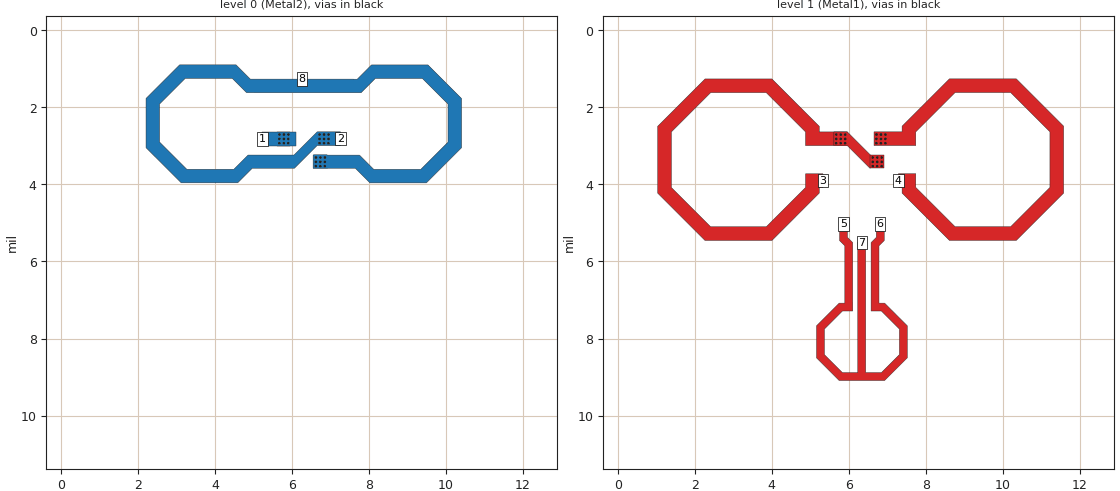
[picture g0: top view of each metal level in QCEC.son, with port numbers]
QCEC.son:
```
FTYP SONPROJ 19 ! Sonnet Project File
VER 18.58
HEADER
LIC No License
DAT 07/05/2026 14:27:51
BUILT_BY_CREATED xgeom 18.58 05/27/2026 15:17:57
BUILT_BY_SAVED sonnet 18.58
MDATE 07/05/2026 14:27:51
HDATE 07/05/2026 14:27:51
END HEADER
DIM
ANG DEG
CAP PF
CON /OH
FREQ GHZ
IND NH
LNG MIL
RES OH
END DIM
CONTROL
VARSWP
OPTIONS  -bd
SPEED 0
SUBSPLAM Y 20
EDGECHECK Y 1
CFMAX Y 60.0
CACHE_ABS 2
Q_ACC Y
DET_ABS_RES Y
END CONTROL
GEO
TMET "Lossless" 0 SUP 0 0 0 0
BMET "Lossless" 0 SUP 0 0 0 0
MET "Copper" 1 NOR 58000000 0.5 0.05 
MET "Aluminum" 2 NOR 37200000 0.5 0.035 
MET "Copper" 1 VOL 58000000 SOLID 0
BOX 2 12.5 11 1000 880 20 0
      0.2 1 1 0 0 0 0 "Air"
      0.4 3.9 1 0.002 0 0 0 "Silicon Dioxide"
      12 11.9 1 0.05 0 0.00044 0 "Silicon (intrinsic)"
TECHLAY METAL Metal2 Copper -3 -65534 
0 0 0 N 759 1 1 100 100 0 0 0 Y
END
END
TECHLAY METAL Metal1 Copper -2 -65534 
1 0 1 N 769 1 1 100 100 0 0 0 Y
END
END
TECHLAY VIA Via1 <UNSPECIFIED> -4 -65534 
VIA POLYGON
1 0 2 N 783 1 1 100 100 0 0 0 Y
TOLEVEL GND SOLID COVERS
END
END
LORGN 0 11 U 
POR1 CUP A
GNDREF AUTO
TERMW CUST 1
POLY 216 1
6
8 50 0 0 0 6.2576 1.2676 
POR1 CUP Auto
SIMPLE Y
GNDREF BOX AUTO
TERMW FEED
POLY 216 1
28
2 50 0 0 0 7.2588 2.8136 NONE 
CUPGRP "Auto" LOCAL
ID 762
END
POR1 CUP Auto
SIMPLE Y
GNDREF BOX AUTO
TERMW FEED
POLY 702 1
3
1 50 0 0 0 5.2308 2.8188 NONE 
CUPGRP "Auto" LOCAL
ID 765
END
POR1 CUP Auto
SIMPLE Y
GNDREF BOX AUTO
TERMW FEED
POLY 62 1
6
3 50 0 0 0 5.3268 3.9026 NONE 
CUPGRP "Auto" LOCAL
ID 771
END
POR1 CUP Auto
SIMPLE Y
GNDREF BOX AUTO
TERMW FEED
POLY 64 1
6
4 50 0 0 0 7.286 3.901 NONE 
CUPGRP "Auto" LOCAL
ID 774
END
POR1 CUP Auto
GNDREF FLOAT
TERMW FEED
POLY 789 1
42
5 50 0 0 0 5.86173096 5.02436728 
CUPGRP "Auto" LOCAL
ID 795
END
POR1 CUP Auto
GNDREF FLOAT
TERMW FEED
POLY 789 1
14
6 50 0 0 0 6.81516168 5.02436728 
CUPGRP "Auto" LOCAL
ID 797
END
POR1 CUP Auto
GNDREF AUTO
TERMW FEED
POLY 789 1
29
7 50 0 0 0 6.33414328 5.509074 
CUPGRP "Auto" LOCAL
ID 799
END
CUPGRP "A"
ID 383
END
CUPGRP "B"
ID 744
END
CUPGRP "C"
ID 790
END
NUM 36
0 5 0 N 214 1 1 100 100 0 0 0 Y
TLAYNAM Metal2 INH
5.6116 2.6376
5.9596 2.6376
5.9596 2.9928
5.6116 2.9928
5.6116 2.6376
END
0 66 0 N 216 1 1 100 100 0 0 0 Y
TLAYNAM Metal2 INH
10.4008 3.0488
10.4008 1.7708
9.5292 0.8992
8.0636 0.8992
7.6936 1.2692
7.596 1.2692
7.596 1.2676
4.9192 1.2676
4.5492 0.8976
4.5492 0.8976
4.5492 0.8976
4.5492 0.8976
4.5492 0.8976
3.0836 0.8976
3.0836 0.8976
2.212 1.7688
2.212 1.7688
2.212 1.7688
2.212 3.0472
2.212 3.0472
2.212 3.0472
3.1244 3.9592
3.1244 3.9592
4.59 3.9592
4.59 3.9592
4.9696 3.58
6.0644 3.58
6.6532 2.9912
7.2588 2.9912
7.2588 2.636
6.6532 2.636
6.6532 2.636
6.0508 3.2384
4.8604 3.2384
4.4908 3.608
3.27 3.608
2.5632 2.9016
2.5632 1.9144
3.2288 1.2488
4.4496 1.2488
4.8196 1.6188
4.8196 1.6188
5.0168 1.6188
5.0168 1.6204
7.7932 1.6204
8.1632 1.2504
9.384 1.2504
10.0496 1.916
10.0496 2.9032
9.3428 3.6096
8.122 3.6096
7.7524 3.24
6.912 3.24
6.912 3.2316
6.5564 3.2316
6.5564 3.24
6.5484 3.24
6.5484 3.5816
6.5564 3.5816
6.5564 3.5868
6.912 3.5868
6.912 3.5816
7.6432 3.5816
8.0228 3.9608
9.4884 3.9608
10.4008 3.0488
END
0 5 0 N 702 1 1 100 100 0 0 0 Y
TLAYNAM Metal2 INH
5.2308 2.6376
6.0932 2.6376
6.0932 3
5.2308 3
5.2308 2.6376
END
VIA POLYGON
0 37 -1 N 127 1 1 100 100 0 0 0 Y
TOLEVEL 1 RING COVERS
5.708 2.7092
5.7068 2.7152
5.7048 2.7208
5.7016 2.7264
5.6976 2.7308
5.6932 2.7348
5.688 2.738
5.682 2.74
5.676 2.7408
5.67 2.7408
5.664 2.74
5.6584 2.738
5.6532 2.7348
5.6484 2.7308
5.6444 2.7264
5.6412 2.7208
5.6392 2.7152
5.6384 2.7092
5.6384 2.7032
5.6392 2.6972
5.6412 2.6916
5.6444 2.686
5.6484 2.6816
5.6532 2.6776
5.6584 2.6744
5.664 2.6724
5.67 2.6712
5.676 2.6712
5.682 2.6724
5.688 2.6744
5.6932 2.6776
5.6976 2.6816
5.7016 2.686
5.7048 2.6916
5.7068 2.6972
5.708 2.7032
5.708 2.7092
END
VIA POLYGON
0 37 -1 N 128 1 1 100 100 0 0 0 Y
TOLEVEL 1 RING COVERS
5.8248 2.7104
5.8236 2.7164
5.8216 2.722
5.8184 2.7272
5.8144 2.732
5.81 2.736
5.8048 2.7388
5.7988 2.7412
5.7928 2.742
5.7868 2.742
5.7808 2.7412
5.7752 2.7388
5.77 2.736
5.7652 2.732
5.7612 2.7272
5.7584 2.722
5.756 2.7164
5.7552 2.7104
5.7552 2.7044
5.756 2.6984
5.7584 2.6924
5.7612 2.6872
5.7652 2.6824
5.77 2.6788
5.7752 2.6756
5.7808 2.6736
5.7868 2.6724
5.7928 2.6724
5.7988 2.6736
5.8048 2.6756
5.81 2.6788
5.8144 2.6824
5.8184 2.6872
5.8216 2.6924
5.8236 2.6984
5.8248 2.7044
5.8248 2.7104
END
VIA POLYGON
0 37 -1 N 129 1 1 100 100 0 0 0 Y
TOLEVEL 1 RING COVERS
5.9404 2.7096
5.9392 2.7156
5.9372 2.7216
5.934 2.7268
5.93 2.7316
5.9256 2.7352
5.9204 2.7384
5.9144 2.7404
5.9084 2.7416
5.9024 2.7416
5.8964 2.7404
5.8908 2.7384
5.8856 2.7352
5.8808 2.7316
5.8768 2.7268
5.8736 2.7216
5.8716 2.7156
5.8708 2.7096
5.8708 2.7036
5.8716 2.6976
5.8736 2.692
5.8768 2.6868
5.8808 2.682
5.8856 2.678
5.8908 2.6752
5.8964 2.6728
5.9024 2.672
5.9084 2.672
5.9144 2.6728
5.9204 2.6752
5.9256 2.678
5.93 2.682
5.934 2.6868
5.9372 2.692
5.9392 2.6976
5.9404 2.7036
5.9404 2.7096
END
VIA POLYGON
0 37 -1 N 130 1 1 100 100 0 0 0 Y
TOLEVEL 1 RING COVERS
5.7068 2.822
5.7056 2.828
5.7036 2.834
5.7004 2.8392
5.6968 2.844
5.692 2.8476
5.6868 2.8508
5.6812 2.8528
5.6752 2.854
5.6688 2.854
5.6628 2.8528
5.6572 2.8508
5.652 2.8476
5.6472 2.844
5.6432 2.8392
5.6404 2.834
5.6384 2.828
5.6372 2.822
5.6372 2.816
5.6384 2.81
5.6404 2.8044
5.6432 2.7992
5.6472 2.7944
5.652 2.7904
5.6572 2.7876
5.6628 2.7852
5.6688 2.7844
5.6752 2.7844
5.6812 2.7852
5.6868 2.7876
5.692 2.7904
5.6968 2.7944
5.7004 2.7992
5.7036 2.8044
5.7056 2.81
5.7068 2.816
5.7068 2.822
END
VIA POLYGON
0 37 -1 N 131 1 1 100 100 0 0 0 Y
TOLEVEL 1 RING COVERS
5.8236 2.8232
5.8224 2.8292
5.8204 2.8348
5.8176 2.8404
5.8136 2.8448
5.8088 2.8488
5.8036 2.852
5.798 2.854
5.792 2.8552
5.7856 2.8552
5.7796 2.854
5.774 2.852
5.7688 2.8488
5.764 2.8448
5.76 2.8404
5.7572 2.8348
5.7552 2.8292
5.754 2.8232
5.754 2.8172
5.7552 2.8112
5.7572 2.8056
5.76 2.8
5.764 2.7956
5.7688 2.7916
5.774 2.7884
5.7796 2.7864
5.7856 2.7856
5.792 2.7856
5.798 2.7864
5.8036 2.7884
5.8088 2.7916
5.8136 2.7956
5.8176 2.8
5.8204 2.8056
5.8224 2.8112
5.8236 2.8172
5.8236 2.8232
END
VIA POLYGON
0 37 -1 N 132 1 1 100 100 0 0 0 Y
TOLEVEL 1 RING COVERS
5.9392 2.8228
5.938 2.8288
5.936 2.8344
5.9328 2.8396
5.9292 2.8444
5.9244 2.8484
5.9192 2.8512
5.9136 2.8532
5.9076 2.8544
5.9012 2.8544
5.8952 2.8532
5.8896 2.8512
5.8844 2.8484
5.8796 2.8444
5.8756 2.8396
5.8728 2.8344
5.8708 2.8288
5.8696 2.8228
5.8696 2.8164
5.8708 2.8104
5.8728 2.8048
5.8756 2.7996
5.8796 2.7948
5.8844 2.7912
5.8896 2.788
5.8952 2.786
5.9012 2.7848
5.9076 2.7848
5.9136 2.786
5.9192 2.788
5.9244 2.7912
5.9292 2.7948
5.9328 2.7996
5.936 2.8048
5.938 2.8104
5.9392 2.8164
5.9392 2.8228
END
VIA POLYGON
0 37 -1 N 133 1 1 100 100 0 0 0 Y
TOLEVEL 1 RING COVERS
5.7056 2.9344
5.7044 2.9404
5.7024 2.946
5.6992 2.9512
5.6956 2.956
5.6908 2.9596
5.6856 2.9628
5.6796 2.9648
5.6736 2.966
5.6676 2.966
5.6616 2.9648
5.656 2.9628
5.6508 2.9596
5.646 2.956
5.642 2.9512
5.6392 2.946
5.6372 2.9404
5.636 2.9344
5.636 2.928
5.6372 2.922
5.6392 2.9164
5.642 2.9112
5.646 2.9064
5.6508 2.9024
5.656 2.8996
5.6616 2.8976
5.6676 2.8964
5.6736 2.8964
5.6796 2.8976
5.6856 2.8996
5.6908 2.9024
5.6956 2.9064
5.6992 2.9112
5.7024 2.9164
5.7044 2.922
5.7056 2.928
5.7056 2.9344
END
VIA POLYGON
0 37 -1 N 134 1 1 100 100 0 0 0 Y
TOLEVEL 1 RING COVERS
5.8224 2.9352
5.8212 2.9412
5.8192 2.9472
5.816 2.9524
5.8124 2.9568
5.8076 2.9608
5.8024 2.964
5.7968 2.966
5.7908 2.9672
5.7844 2.9672
5.7784 2.966
5.7728 2.964
5.7676 2.9608
5.7628 2.9568
5.7588 2.9524
5.756 2.9472
5.754 2.9412
5.7528 2.9352
5.7528 2.9292
5.754 2.9232
5.756 2.9176
5.7588 2.9124
5.7628 2.9076
5.7676 2.9036
5.7728 2.9008
5.7784 2.8984
5.7844 2.8976
5.7908 2.8976
5.7968 2.8984
5.8024 2.9008
5.8076 2.9036
5.8124 2.9076
5.816 2.9124
5.8192 2.9176
5.8212 2.9232
5.8224 2.9292
5.8224 2.9352
END
VIA POLYGON
0 37 -1 N 135 1 1 100 100 0 0 0 Y
TOLEVEL 1 RING COVERS
5.938 2.9348
5.9368 2.9408
5.9348 2.9464
5.9316 2.9516
5.928 2.9564
5.9232 2.9604
5.918 2.9632
5.912 2.9656
5.906 2.9664
5.9 2.9664
5.894 2.9656
5.8884 2.9632
5.8832 2.9604
5.8784 2.9564
5.8744 2.9516
5.8716 2.9464
5.8696 2.9408
5.8684 2.9348
5.8684 2.9288
5.8696 2.9228
5.8716 2.9168
5.8744 2.9116
5.8784 2.9068
5.8832 2.9032
5.8884 2.9
5.894 2.898
5.9 2.8968
5.906 2.8968
5.912 2.898
5.918 2.9
5.9232 2.9032
5.928 2.9068
5.9316 2.9116
5.9348 2.9168
5.9368 2.9228
5.938 2.9288
5.938 2.9348
END
VIA POLYGON
0 37 -1 N 156 1 1 100 100 0 0 0 Y
TOLEVEL 1 RING COVERS
6.9844 2.7096
6.9832 2.7156
6.9812 2.7216
6.978 2.7268
6.974 2.7316
6.9696 2.7352
6.9644 2.7384
6.9584 2.7404
6.9524 2.7416
6.9464 2.7416
6.9404 2.7404
6.9348 2.7384
6.9296 2.7352
6.9248 2.7316
6.9208 2.7268
6.9176 2.7216
6.9156 2.7156
6.9148 2.7096
6.9148 2.7036
6.9156 2.6976
6.9176 2.692
6.9208 2.6868
6.9248 2.682
6.9296 2.678
6.9348 2.6752
6.9404 2.6728
6.9464 2.672
6.9524 2.672
6.9584 2.6728
6.9644 2.6752
6.9696 2.678
6.974 2.682
6.978 2.6868
6.9812 2.692
6.9832 2.6976
6.9844 2.7036
6.9844 2.7096
END
VIA POLYGON
0 37 -1 N 157 1 1 100 100 0 0 0 Y
TOLEVEL 1 RING COVERS
6.8688 2.7104
6.8676 2.7164
6.8656 2.722
6.8624 2.7272
6.8584 2.732
6.854 2.736
6.8488 2.7388
6.8428 2.7412
6.8368 2.742
6.8308 2.742
6.8248 2.7412
6.8192 2.7388
6.814 2.736
6.8092 2.732
6.8052 2.7272
6.8024 2.722
6.8 2.7164
6.7992 2.7104
6.7992 2.7044
6.8 2.6984
6.8024 2.6924
6.8052 2.6872
6.8092 2.6824
6.814 2.6788
6.8192 2.6756
6.8248 2.6736
6.8308 2.6724
6.8368 2.6724
6.8428 2.6736
6.8488 2.6756
6.854 2.6788
6.8584 2.6824
6.8624 2.6872
6.8656 2.6924
6.8676 2.6984
6.8688 2.7044
6.8688 2.7104
END
VIA POLYGON
0 37 -1 N 158 1 1 100 100 0 0 0 Y
TOLEVEL 1 RING COVERS
6.982 2.9348
6.9808 2.9408
6.9788 2.9464
6.9756 2.9516
6.972 2.9564
6.9672 2.9604
6.962 2.9632
6.956 2.9656
6.95 2.9664
6.944 2.9664
6.938 2.9656
6.9324 2.9632
6.9272 2.9604
6.9224 2.9564
6.9184 2.9516
6.9156 2.9464
6.9136 2.9408
6.9124 2.9348
6.9124 2.9288
6.9136 2.9228
6.9156 2.9168
6.9184 2.9116
6.9224 2.9068
6.9272 2.9032
6.9324 2.9
6.938 2.898
6.944 2.8968
6.95 2.8968
6.956 2.898
6.962 2.9
6.9672 2.9032
6.972 2.9068
6.9756 2.9116
6.9788 2.9168
6.9808 2.9228
6.982 2.9288
6.982 2.9348
END
VIA POLYGON
0 37 -1 N 159 1 1 100 100 0 0 0 Y
TOLEVEL 1 RING COVERS
6.8676 2.8232
6.8664 2.8292
6.8644 2.8348
6.8616 2.8404
6.8576 2.8448
6.8528 2.8488
6.8476 2.852
6.842 2.854
6.836 2.8552
6.8296 2.8552
6.8236 2.854
6.818 2.852
6.8128 2.8488
6.808 2.8448
6.804 2.8404
6.8012 2.8348
6.7992 2.8292
6.798 2.8232
6.798 2.8172
6.7992 2.8112
6.8012 2.8056
6.804 2.8
6.808 2.7956
6.8128 2.7916
6.818 2.7884
6.8236 2.7864
6.8296 2.7856
6.836 2.7856
6.842 2.7864
6.8476 2.7884
6.8528 2.7916
6.8576 2.7956
6.8616 2.8
6.8644 2.8056
6.8664 2.8112
6.8676 2.8172
6.8676 2.8232
END
VIA POLYGON
0 37 -1 N 160 1 1 100 100 0 0 0 Y
TOLEVEL 1 RING COVERS
6.752 2.7092
6.7508 2.7152
6.7488 2.7208
6.7456 2.7264
6.7416 2.7308
6.7372 2.7348
6.732 2.738
6.726 2.74
6.72 2.7408
6.714 2.7408
6.708 2.74
6.7024 2.738
6.6972 2.7348
6.6924 2.7308
6.6884 2.7264
6.6852 2.7208
6.6832 2.7152
6.6824 2.7092
6.6824 2.7032
6.6832 2.6972
6.6852 2.6916
6.6884 2.686
6.6924 2.6816
6.6972 2.6776
6.7024 2.6744
6.708 2.6724
6.714 2.6712
6.72 2.6712
6.726 2.6724
6.732 2.6744
6.7372 2.6776
6.7416 2.6816
6.7456 2.686
6.7488 2.6916
6.7508 2.6972
6.752 2.7032
6.752 2.7092
END
VIA POLYGON
0 37 -1 N 161 1 1 100 100 0 0 0 Y
TOLEVEL 1 RING COVERS
6.8664 2.9352
6.8652 2.9412
6.8632 2.9472
6.86 2.9524
6.8564 2.9568
6.8516 2.9608
6.8464 2.964
6.8408 2.966
6.8348 2.9672
6.8284 2.9672
6.8224 2.966
6.8168 2.964
6.8116 2.9608
6.8068 2.9568
6.8028 2.9524
6.8 2.9472
6.798 2.9412
6.7968 2.9352
6.7968 2.9292
6.798 2.9232
6.8 2.9176
6.8028 2.9124
6.8068 2.9076
6.8116 2.9036
6.8168 2.9008
6.8224 2.8984
6.8284 2.8976
6.8348 2.8976
6.8408 2.8984
6.8464 2.9008
6.8516 2.9036
6.8564 2.9076
6.86 2.9124
6.8632 2.9176
6.8652 2.9232
6.8664 2.9292
6.8664 2.9352
END
VIA POLYGON
0 37 -1 N 162 1 1 100 100 0 0 0 Y
TOLEVEL 1 RING COVERS
6.9832 2.8228
6.982 2.8288
6.98 2.8344
6.9768 2.8396
6.9732 2.8444
6.9684 2.8484
6.9632 2.8512
6.9576 2.8532
6.9516 2.8544
6.9452 2.8544
6.9392 2.8532
6.9336 2.8512
6.9284 2.8484
6.9236 2.8444
6.9196 2.8396
6.9168 2.8344
6.9148 2.8288
6.9136 2.8228
6.9136 2.8164
6.9148 2.8104
6.9168 2.8048
6.9196 2.7996
6.9236 2.7948
6.9284 2.7912
6.9336 2.788
6.9392 2.786
6.9452 2.7848
6.9516 2.7848
6.9576 2.786
6.9632 2.788
6.9684 2.7912
6.9732 2.7948
6.9768 2.7996
6.98 2.8048
6.982 2.8104
6.9832 2.8164
6.9832 2.8228
END
VIA POLYGON
0 37 -1 N 163 1 1 100 100 0 0 0 Y
TOLEVEL 1 RING COVERS
6.7508 2.822
6.7496 2.828
6.7476 2.834
6.7444 2.8392
6.7408 2.844
6.736 2.8476
6.7308 2.8508
6.7252 2.8528
6.7192 2.854
6.7128 2.854
6.7068 2.8528
6.7012 2.8508
6.696 2.8476
6.6912 2.844
6.6872 2.8392
6.6844 2.834
6.6824 2.828
6.6812 2.822
6.6812 2.816
6.6824 2.81
6.6844 2.8044
6.6872 2.7992
6.6912 2.7944
6.696 2.7904
6.7012 2.7876
6.7068 2.7852
6.7128 2.7844
6.7192 2.7844
6.7252 2.7852
6.7308 2.7876
6.736 2.7904
6.7408 2.7944
6.7444 2.7992
6.7476 2.8044
6.7496 2.81
6.7508 2.816
6.7508 2.822
END
VIA POLYGON
0 37 -1 N 164 1 1 100 100 0 0 0 Y
TOLEVEL 1 RING COVERS
6.7496 2.9344
6.7484 2.9404
6.7464 2.946
6.7432 2.9512
6.7396 2.956
6.7348 2.9596
6.7296 2.9628
6.7236 2.9648
6.7176 2.966
6.7116 2.966
6.7056 2.9648
6.7 2.9628
6.6948 2.9596
6.69 2.956
6.686 2.9512
6.6832 2.946
6.6812 2.9404
6.68 2.9344
6.68 2.928
6.6812 2.922
6.6832 2.9164
6.686 2.9112
6.69 2.9064
6.6948 2.9024
6.7 2.8996
6.7056 2.8976
6.7116 2.8964
6.7176 2.8964
6.7236 2.8976
6.7296 2.8996
6.7348 2.9024
6.7396 2.9064
6.7432 2.9112
6.7464 2.9164
6.7484 2.922
6.7496 2.928
6.7496 2.9344
END
VIA POLYGON
0 37 -1 N 204 1 1 100 100 0 0 0 Y
TOLEVEL 1 RING COVERS
6.8864 3.4184
6.8852 3.4244
6.8832 3.43
6.88 3.4352
6.8764 3.44
6.8716 3.444
6.8664 3.4468
6.8604 3.4488
6.8544 3.45
6.8484 3.45
6.8424 3.4488
6.8368 3.4468
6.8316 3.444
6.8268 3.44
6.8228 3.4352
6.82 3.43
6.8176 3.4244
6.8168 3.4184
6.8168 3.412
6.8176 3.406
6.82 3.4004
6.8228 3.3952
6.8268 3.3904
6.8316 3.3868
6.8368 3.3836
6.8424 3.3816
6.8484 3.3804
6.8544 3.3804
6.8604 3.3816
6.8664 3.3836
6.8716 3.3868
6.8764 3.3904
6.88 3.3952
6.8832 3.4004
6.8852 3.406
6.8864 3.412
6.8864 3.4184
END
VIA POLYGON
0 37 -1 N 206 1 1 100 100 0 0 0 Y
TOLEVEL 1 RING COVERS
6.7708 3.4188
6.7696 3.4248
6.7676 3.4304
6.7644 3.436
6.7608 3.4404
6.756 3.4444
6.7508 3.4476
6.7448 3.4496
6.7388 3.4508
6.7328 3.4508
6.7268 3.4496
6.7212 3.4476
6.716 3.4444
6.7112 3.4404
6.7072 3.436
6.7044 3.4304
6.7024 3.4248
6.7012 3.4188
6.7012 3.4128
6.7024 3.4068
6.7044 3.4012
6.7072 3.3956
6.7112 3.3912
6.716 3.3872
6.7212 3.384
6.7268 3.382
6.7328 3.3812
6.7388 3.3812
6.7448 3.382
6.7508 3.384
6.756 3.3872
6.7608 3.3912
6.7644 3.3956
6.7676 3.4012
6.7696 3.4068
6.7708 3.4128
6.7708 3.4188
END
VIA POLYGON
0 37 -1 N 207 1 1 100 100 0 0 0 Y
TOLEVEL 1 RING COVERS
6.772 3.306
6.7708 3.312
6.7688 3.3176
6.7656 3.3228
6.7616 3.3276
6.7572 3.3316
6.7516 3.3344
6.746 3.3368
6.74 3.3376
6.734 3.3376
6.728 3.3368
6.7224 3.3344
6.7168 3.3316
6.7124 3.3276
6.7084 3.3228
6.7052 3.3176
6.7032 3.312
6.7024 3.306
6.7024 3.3
6.7032 3.294
6.7052 3.288
6.7084 3.2828
6.7124 3.278
6.7168 3.2744
6.7224 3.2712
6.728 3.2692
6.734 3.268
6.74 3.268
6.746 3.2692
6.7516 3.2712
6.7572 3.2744
6.7616 3.278
6.7656 3.2828
6.7688 3.288
6.7708 3.294
6.772 3.3
6.772 3.306
END
VIA POLYGON
0 37 -1 N 208 1 1 100 100 0 0 0 Y
TOLEVEL 1 RING COVERS
6.6548 3.3048
6.654 3.3108
6.652 3.3164
6.6488 3.322
6.6448 3.3264
6.6404 3.3304
6.6348 3.3336
6.6292 3.3356
6.6232 3.3364
6.6172 3.3364
6.6112 3.3356
6.6056 3.3336
6.6 3.3304
6.5956 3.3264
6.5916 3.322
6.5884 3.3164
6.5864 3.3108
6.5852 3.3048
6.5852 3.2988
6.5864 3.2928
6.5884 3.2872
6.5916 3.2816
6.5956 3.2772
6.6 3.2732
6.6056 3.27
6.6112 3.268
6.6172 3.2668
6.6232 3.2668
6.6292 3.268
6.6348 3.27
6.6404 3.2732
6.6448 3.2772
6.6488 3.2816
6.652 3.2872
6.654 3.2928
6.6548 3.2988
6.6548 3.3048
END
VIA POLYGON
0 37 -1 N 209 1 1 100 100 0 0 0 Y
TOLEVEL 1 RING COVERS
6.7696 3.5308
6.7684 3.5368
6.7664 3.5428
6.7632 3.548
6.7596 3.5524
6.7548 3.5564
6.7496 3.5596
6.7436 3.5616
6.7376 3.5628
6.7316 3.5628
6.7256 3.5616
6.72 3.5596
6.7148 3.5564
6.71 3.5524
6.706 3.548
6.7032 3.5428
6.7008 3.5368
6.7 3.5308
6.7 3.5248
6.7008 3.5188
6.7032 3.5132
6.706 3.508
6.71 3.5032
6.7148 3.4992
6.72 3.4964
6.7256 3.494
6.7316 3.4932
6.7376 3.4932
6.7436 3.494
6.7496 3.4964
6.7548 3.4992
6.7596 3.5032
6.7632 3.508
6.7664 3.5132
6.7684 3.5188
6.7696 3.5248
6.7696 3.5308
END
VIA POLYGON
0 37 -1 N 210 1 1 100 100 0 0 0 Y
TOLEVEL 1 RING COVERS
6.8872 3.3052
6.8864 3.3112
6.8844 3.3172
6.8812 3.3224
6.8772 3.3272
6.8728 3.3308
6.8672 3.334
6.8616 3.336
6.8556 3.3372
6.8496 3.3372
6.8436 3.336
6.838 3.334
6.8324 3.3308
6.828 3.3272
6.824 3.3224
6.8208 3.3172
6.8188 3.3112
6.8176 3.3052
6.8176 3.2992
6.8188 3.2932
6.8208 3.2876
6.824 3.2824
6.828 3.2776
6.8324 3.2736
6.838 3.2708
6.8436 3.2684
6.8496 3.2676
6.8556 3.2676
6.8616 3.2684
6.8672 3.2708
6.8728 3.2736
6.8772 3.2776
6.8812 3.2824
6.8844 3.2876
6.8864 3.2932
6.8872 3.2992
6.8872 3.3052
END
VIA POLYGON
0 37 -1 N 211 1 1 100 100 0 0 0 Y
TOLEVEL 1 RING COVERS
6.6528 3.53
6.6516 3.536
6.6496 3.5416
6.6464 3.5468
6.6424 3.5516
6.638 3.5552
6.6328 3.5584
6.6268 3.5604
6.6208 3.5616
6.6148 3.5616
6.6088 3.5604
6.6032 3.5584
6.598 3.5552
6.5932 3.5516
6.5892 3.5468
6.5864 3.5416
6.584 3.536
6.5832 3.53
6.5832 3.5236
6.584 3.5176
6.5864 3.512
6.5892 3.5068
6.5932 3.502
6.598 3.498
6.6032 3.4952
6.6088 3.4932
6.6148 3.492
6.6208 3.492
6.6268 3.4932
6.6328 3.4952
6.638 3.498
6.6424 3.502
6.6464 3.5068
6.6496 3.512
6.6516 3.5176
6.6528 3.5236
6.6528 3.53
END
VIA POLYGON
0 37 -1 N 212 1 1 100 100 0 0 0 Y
TOLEVEL 1 RING COVERS
6.8852 3.5304
6.884 3.5364
6.882 3.542
6.8788 3.5472
6.8748 3.552
6.8704 3.556
6.8652 3.5588
6.8592 3.5612
6.8532 3.562
6.8472 3.562
6.8412 3.5612
6.8356 3.5588
6.8304 3.556
6.8256 3.552
6.8216 3.5472
6.8188 3.542
6.8164 3.5364
6.8156 3.5304
6.8156 3.5244
6.8164 3.5184
6.8188 3.5124
6.8216 3.5072
6.8256 3.5024
6.8304 3.4988
6.8356 3.4956
6.8412 3.4936
6.8472 3.4924
6.8532 3.4924
6.8592 3.4936
6.8652 3.4956
6.8704 3.4988
6.8748 3.5024
6.8788 3.5072
6.882 3.5124
6.884 3.5184
6.8852 3.5244
6.8852 3.5304
END
VIA POLYGON
0 37 -1 N 213 1 1 100 100 0 0 0 Y
TOLEVEL 1 RING COVERS
6.654 3.4176
6.6528 3.4236
6.6508 3.4296
6.6476 3.4348
6.644 3.4396
6.6392 3.4432
6.634 3.4464
6.628 3.4484
6.622 3.4496
6.616 3.4496
6.61 3.4484
6.6044 3.4464
6.5992 3.4432
6.5944 3.4396
6.5904 3.4348
6.5876 3.4296
6.5852 3.4236
6.5844 3.4176
6.5844 3.4116
6.5852 3.4056
6.5876 3.4
6.5904 3.3948
6.5944 3.39
6.5992 3.386
6.6044 3.3832
6.61 3.3808
6.616 3.38
6.622 3.38
6.628 3.3808
6.634 3.3832
6.6392 3.386
6.644 3.39
6.6476 3.3948
6.6508 3.4
6.6528 3.4056
6.654 3.4116
6.654 3.4176
END
1 42 1 N 62 1 1 100 100 0 0 0 Y
TLAYNAM Metal1 INH
2.2668 5.4552
4.0032 5.4552
4.0032 5.4552
5.2308 4.2272
5.2308 4.2272
5.2308 4.08
5.3268 4.08
5.3268 3.7252
4.876 3.7252
4.876 4.08
4.876 4.08
4.876 4.08
3.856 5.1
2.4136 5.1
1.3936 4.08
1.3936 2.6376
2.4136 1.618
3.856 1.618
4.876 2.6376
4.876 2.6376
4.876 2.6376
4.876 2.9928
5.9596 2.9928
5.9596 2.6376
5.2308 2.6376
5.2308 2.4908
5.2308 2.4908
4.0032 1.2628
4.0032 1.2628
4.0032 1.2628
2.2668 1.2628
2.2668 1.2628
2.2668 1.2628
1.0388 2.4908
1.0388 2.4908
1.0388 4.2272
1.0388 4.2272
1.0388 4.2272
1.0388 4.2272
1.0388 4.2272
2.2668 5.4552
2.2668 5.4552
END
1 42 1 N 64 1 1 100 100 0 0 0 Y
TLAYNAM Metal1 INH
10.346 5.4536
8.6096 5.4536
8.6096 5.4536
7.3816 4.2256
7.3816 4.2256
7.3816 4.0784
7.286 4.0784
7.286 3.7236
7.7368 3.7236
7.7368 4.0784
7.7368 4.0784
7.7368 4.0784
8.7568 5.0984
10.1992 5.0984
11.2188 4.0784
11.2188 2.636
10.1992 1.6164
8.7568 1.6164
7.7368 2.636
7.7368 2.636
7.7368 2.636
7.7368 2.9912
6.6532 2.9912
6.6532 2.636
7.3816 2.636
7.3816 2.4892
7.3816 2.4892
8.6096 1.2612
8.6096 1.2612
8.6096 1.2612
10.346 1.2612
10.346 1.2612
10.346 1.2612
11.574 2.4892
11.574 2.4892
11.574 4.2256
11.574 4.2256
11.574 4.2256
11.574 4.2256
11.574 4.2256
10.346 5.4536
10.346 5.4536
END
1 8 1 N 106 1 1 100 100 0 0 0 Y
TLAYNAM Metal1 INH
6.726 3.404
5.9596 2.6376
5.9596 2.6376
5.6116 2.6376
5.6116 2.9928
5.9596 2.9928
6.5484 3.5816
6.726 3.404
END
1 5 1 N 215 1 1 100 100 0 0 0 Y
TLAYNAM Metal1 INH
6.5564 3.2316
6.912 3.2316
6.912 3.5868
6.5564 3.5868
6.5564 3.2316
END
1 65 1 N 789 1 1 100 100 0 0 0 Y
TLAYNAM Metal1 INH
7.5165572 8.50214568
7.5165572 8.50214568
7.5165572 8.50214568
7.5165572 7.6698148
7.5165572 7.6698148
7.5165572 7.6698148
6.9279628 7.08152776
6.9279628 7.08152776
6.9279628 7.08152776
6.78135208 7.08152776
6.78135208 5.59482744
6.91751256 5.45897432
6.91751256 5.45897432
6.91751256 5.45897432
6.91751256 5.02436728
6.7128108 5.02436728
6.7128108 5.37414296
6.57695768 5.50999608
6.57695768 5.50999608
6.57695768 7.2856148
6.57665032 7.2856148
6.57665032 7.28592216
6.84313144 7.28592216
7.31185544 7.75464616
7.31185544 8.41731432
6.84313144 8.88603832
6.83175912 8.88603832
6.83175912 8.88603832
6.43649416 8.88603832
6.43649416 5.509074
6.2317924 5.509074
6.2317924 8.88603832
5.8337612 8.88603832
5.3650372 8.41731432
5.3650372 7.75464616
5.8337612 7.28592216
6.10054968 7.28592216
6.10054968 7.08152776
6.09993496 7.08152776
6.09993496 5.50999608
6.09993496 5.50999608
5.96408184 5.37414296
5.96408184 5.02436728
5.75938008 5.02436728
5.75938008 5.45897432
5.75938008 5.45897432
5.75938008 5.45897432
5.89554056 5.59482744
5.89554056 7.08152776
5.74892984 7.08152776
5.74892984 7.08152776
5.74892984 7.08152776
5.1606428 7.6698148
5.1606428 7.6698148
5.1606428 7.6698148
5.1606428 8.50214568
5.1606428 8.50214568
5.1606428 8.50214568
5.74892984 9.09043272
5.74892984 9.09043272
5.84544088 9.09043272
5.84544088 9.09043272
6.9279628 9.09043272
6.9279628 9.09043272
7.5165572 8.50214568
END
VIA POLYGON
1 37 2 N 793 1 1 100 100 0 0 0 Y
TOLEVEL GND SOLID COVERS
TLAYNAM Via1 INH
6.394190487 5.621257009
6.3925634 5.630535439
6.38933612 5.639370118
6.38462967 5.647519
6.378591967 5.654740039
6.371370928 5.660777742
6.363222046 5.665484192
6.35437392 5.668711472
6.345108937 5.670338559
6.335696037 5.670338559
6.326431054 5.668711472
6.317582928 5.665484192
6.309434046 5.660777742
6.302226454 5.654740039
6.296175304 5.647519
6.291468854 5.639370118
6.288255021 5.630535439
6.286614487 5.621257009
6.286614487 5.611844109
6.288255021 5.602579126
6.291468854 5.593731
6.296175304 5.585582118
6.302226454 5.578374526
6.309434046 5.572323376
6.317582928 5.567616926
6.326431054 5.564403093
6.335696037 5.562762559
6.345108937 5.562762559
6.35437392 5.564403093
6.363222046 5.567616926
6.371370928 5.572323376
6.378591967 5.578374526
6.38462967 5.585582118
6.38933612 5.593731
6.3925634 5.602579126
6.394190487 5.611844109
6.394190487 5.621257009
END
END GEO
OPT
MAX 100
END OPT
VARSWP
ENABLED Y
FREQ Y AY ABS_ENTRY 0.0 60.0 -1 100 
FREQ Y AN SWEEP 25.0 60.0 5.0
END
END VARSWP
TRANSLATOR
GDSEXPORT
UseTLs true
SepObj true
SepMat true
DivideMulti false
Circles false
CircleType inscribed
CircleSize 0
KeepMetals true
KeepVias true
KeepViaPads true
KeepBricks true
KeepEdgeVias true
KeepParent true
ConvertParent false
AllEdgeViasAsVia false
END
END TRANSLATOR
3DOPTIONS
GLOBAL 9
ALL 3 1
END 3DOPTIONS
```
